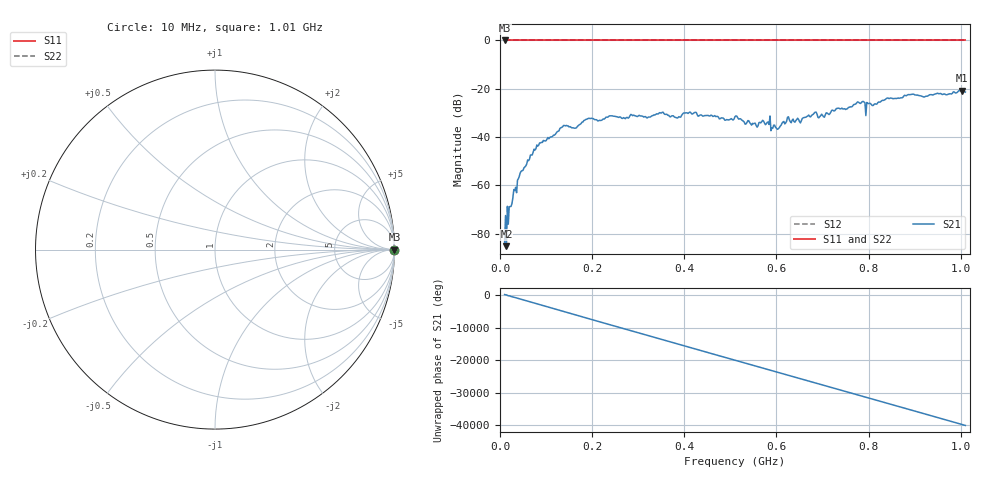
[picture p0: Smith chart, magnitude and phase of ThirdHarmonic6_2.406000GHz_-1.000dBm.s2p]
! 8/17/2025 4:00:20 AM
! C:\ANRITSUVNA\TEMP\TEMP.S2P
! CHANNEL.1
! TR.MEASUREMENT
! RAW.DATA
! RF.CORRECTION.OFF
! AVERAGING.OFF
! IF.BANDWIDTH: 5KHZ
! SWEEPTYPE:  FREQ.SWEEP(Linear)
! Reference Plane Port Info
! PORT:  PORT1  PORT2
! DISTANCE:  0  m  0  m
! TIME:  0  s  0  s
! PHASE.OFFSET:  0  deg.  0  deg.
! LOSS:  0  dB  0  dB
! REF.LOSS:  0  dB  0  dB
! REF.FREQ:  0  Hz  0  Hz
! Power Info
! POWER:  -20  dBm  -20  dBm
! EFF.POWER:  -20  dBm  -20  dBm
! SOURCE.ATTEN:  0  dB  0  dB
! TEST.ATTEN:  0  dB  0  dB
# GHZ S RI R 50.0
! FREQ.GHZ  S11RE  S11IM  S21RE  S21IM  S12RE  S12IM  S22RE  S22IM
!; PortSelection: Port_12
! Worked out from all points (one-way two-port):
!   501 points, 10 MHz to 1.01 GHz, reference 50 ohm
!   highest |S21| = -20.78 dB at 1.002 GHz (marker M1); lowest = -85.1 dB at 14 MHz (marker M2)
!   lowest |S11| = 0.0 dB at 10 MHz (marker M3)
!   |S11| at or under -10 dB: nowhere
!   |S22| runs from 0.0 to 0.0 dB; largest |S21 - S12| = 1.1
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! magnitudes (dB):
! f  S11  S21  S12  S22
! 10 MHz  0.0  -83.8  0.0  0.0
! 14 MHz  0.0  -85.1  0.0  0.0
! 42 MHz  0.0  -56.1  0.0  0.0
! 76 MHz  0.0  -45.4  0.0  0.0
! 136 MHz  0.0  -35.7  0.0  0.0
! 162 MHz  0.0  -36.3  0.0  0.0
! 178 MHz  0.0  -33.8  0.0  0.0
! 240 MHz  0.0  -31.2  0.0  0.0
! 344 MHz  0.0  -30.3  0.0  0.0
! 510 MHz  0.0  -31.5  0.0  0.0
! 556 MHz  0.0  -35.2  0.0  0.0
! 582 MHz  0.0  -33.8  0.0  0.0
! 602 MHz  0.0  -36.8  0.0  0.0
! 624 MHz  0.0  -31.8  0.0  0.0
! 652 MHz  0.0  -34.1  0.0  0.0
! 678 MHz  0.0  -30.8  0.0  0.0
! 702 MHz  0.0  -31.6  0.0  0.0
! 776 MHz  0.0  -25.4  0.0  0.0
! 812 MHz  0.0  -26.4  0.0  0.0
! 844 MHz  0.0  -24.1  0.0  0.0
! 1.002 GHz  0.0  -20.8  0.0  0.0
! 1.01 GHz  0.0  -21.4  0.0  0.0
